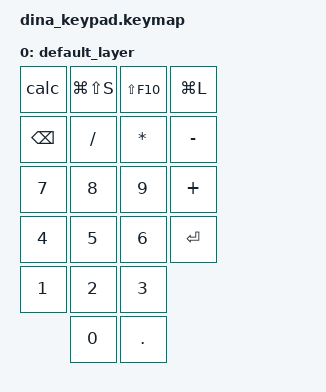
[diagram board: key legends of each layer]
#include <behaviors.dtsi>
#include <dt-bindings/zmk/keys.h>

#define ___ &trans

/ {

    macros {
        calc: zed_em_kay {
            compatible = "zmk,behavior-macro";
            #binding-cells = <0>;
            bindings
                = <&macro_tap &kp LG(R) &kp C &kp A &kp L &kp C &kp RET>
                ;
        };
    };

    keymap {
        compatible = "zmk,keymap";

        default_layer { 

            bindings = <
                &calc    &kp LG(LS(S)) &kp LS(F10) &kp LG(L)

                &kp BSPC &kp FSLH      &kp STAR    &kp MINUS

                &kp N7   &kp N8        &kp N9      &kp PLUS

                &kp N4   &kp N5        &kp N6      &kp RET

                &kp N1   &kp N2        &kp N3

                         &kp N0        &kp DOT
            >;
   
        };
    };
 };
